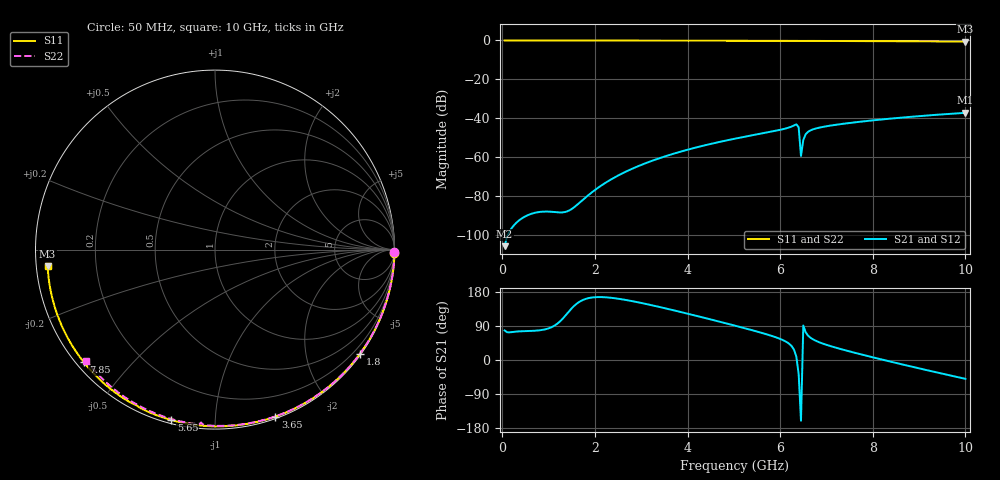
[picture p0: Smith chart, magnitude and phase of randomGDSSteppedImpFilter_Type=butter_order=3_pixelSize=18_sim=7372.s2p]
! freq	dB(S11)	phase(S11)	dB(S12)	phase(S12)
!  dB(S21)	phase(S21)	dB(S22)	phase(S22)
!S-par simulation data
#  GHz  S  DB  R 50
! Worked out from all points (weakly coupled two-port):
!   200 points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, 50 MHz to 10 GHz, reference 50 ohm
!   highest |S21| = -37.21 dB at 10 GHz (marker M1); lowest = -105.8 dB at 50 MHz (marker M2)
!   lowest |S11| = -0.6 dB at 10 GHz (marker M3), VSWR 30.70, Z = 1.63 - j2.44 ohm
!   |S11| at or under -10 dB: nowhere
!   |S22| runs from -0.5 to 0.0 dB; largest |S21 - S12| = 0
!   S11 on the Smith chart (normalised r, x): 50 MHz: open; 1.8 GHz: 0.03, -3.11; 3.65 GHz: 0.02, -1.42; 5.65 GHz: 0.02, -0.78; 7.85 GHz: 0.02, -0.37; 10 GHz: 0.03, -0.05
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0.05  -0.00 -1.0  -105.77 78.0  -105.77 78.0  -0.00 -0.8
0.85  -0.02 -17.1  -88.06 79.1  -88.06 79.1  -0.02 -13.6
1.75  -0.04 -34.7  -81.73 158.9  -81.73 158.9  -0.04 -27.7
1.8  -0.05 -35.7  -80.71 161.2  -80.71 161.2  -0.04 -28.5
1.85  -0.05 -36.7  -79.71 162.9  -79.71 162.9  -0.04 -29.3
2.55  -0.06 -50.0  -68.85 160.8  -68.85 160.8  -0.05 -40.0
3.4  -0.09 -65.7  -60.49 139.8  -60.49 139.8  -0.07 -52.7
3.65  -0.09 -70.2  -58.58 132.6  -58.58 132.6  -0.08 -56.4
5.05  -0.14 -94.4  -50.37 89.9  -50.37 89.9  -0.12 -76.3
5.65  -0.17 -104.4  -47.61 69.9  -47.61 69.9  -0.14 -84.4
6.1  -0.20 -111.7  -45.39 50.1  -45.39 50.1  -0.16 -90.5
6.35  -0.22 -115.8  -43.11 8.6  -43.11 8.6  -0.22 -94.1
6.4  -0.25 -116.6  -44.70 -37.7  -44.70 -37.7  -0.30 -94.6
6.45  -0.25 -117.2  -59.39 -160.3  -59.39 -160.3  -0.27 -94.6
6.5  -0.24 -118.0  -51.14 91.1  -51.14 91.1  -0.22 -95.3
6.55  -0.23 -118.8  -48.26 73.4  -48.26 73.4  -0.20 -96.0
6.7  -0.24 -121.2  -45.79 55.2  -45.79 55.2  -0.20 -98.1
7.05  -0.26 -126.8  -43.91 38.1  -43.91 38.1  -0.21 -102.6
7.85  -0.33 -139.5  -41.47 11.7  -41.47 11.7  -0.27 -112.7
8.35  -0.37 -147.4  -40.26 -3.3  -40.26 -3.3  -0.31 -118.9
9.2  -0.47 -161.1  -38.54 -27.7  -38.54 -27.7  -0.39 -129.4
10  -0.57 -174.4  -37.21 -49.7  -37.21 -49.7  -0.48 -139.2
